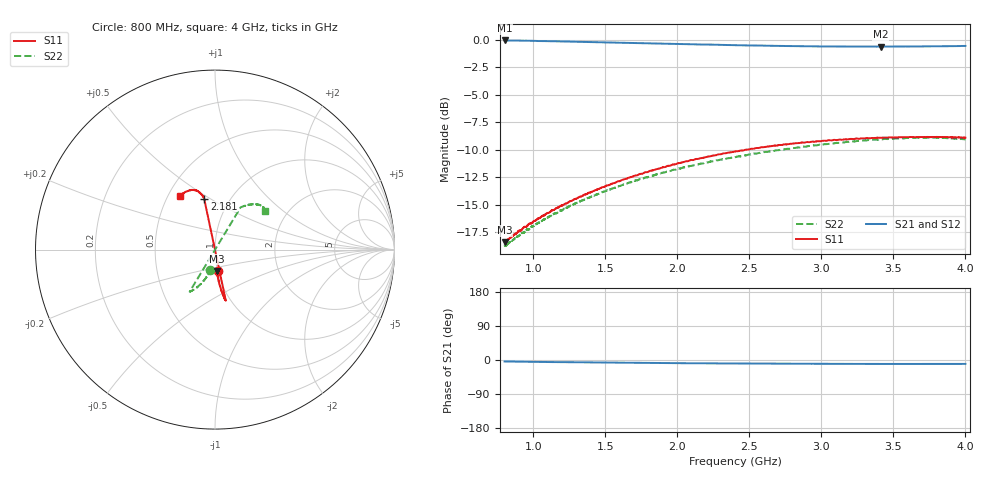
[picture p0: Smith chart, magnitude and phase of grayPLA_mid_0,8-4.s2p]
!Created with skrf (http://scikit-rf.org).
# GHz S RI R 50.0
!freq ReS11 ImS11 ReS21 ImS21 ReS12 ImS12 ReS22 ImS22
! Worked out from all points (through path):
!   5001 points, 800 MHz to 4 GHz, reference 50 ohm
!   highest |S21| = -0.07 dB at 801.3 MHz (marker M1); lowest = -0.6 dB at 3.411 GHz (marker M2)
!   group delay of S21, straight-line fit = 5.51 ps
!   lowest |S11| = -18.4 dB at 801.9 MHz (marker M3), VSWR 1.27, Z = 49.6 - j12 ohm
!   |S11| at or under -10 dB: start of sweep to 2.475 GHz; 2.484182 GHz to 2.485417 GHz (1.236 MHz wide, 0.0497 % of centre); 2.486942 GHz to 2.487762 GHz (819.7 kHz wide, 0.033 % of centre)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
!   |S22| runs from -18.8 to -8.9 dB; largest |S21 - S12| = 0.0057
!   S11 on the Smith chart (normalised r, x): 800 MHz: 1.00, -0.25; 2.181 GHz: 0.76, +0.47; 4 GHz: 0.57, +0.40
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0.8  0.0161 -0.1217  0.9893 -0.0666  0.9893 -0.0659  -0.0302 -0.1134
0.80128  0.0104 -0.1197  0.9897 -0.0672  0.9894 -0.0669  -0.0248 -0.1127
0.80192  0.0106 -0.1194  0.9893 -0.067  0.9893 -0.0668  -0.0244 -0.1125
0.81728  0.00988 -0.1224  0.9892 -0.0682  0.9889 -0.0679  -0.0242 -0.1144
0.91648  0.0129 -0.1356  0.9871 -0.0764  0.9865 -0.075  -0.0315 -0.1275
1.06816  0.0166 -0.1573  0.9818 -0.0891  0.9812 -0.0851  -0.0419 -0.1452
1.17184  0.0199 -0.1709  0.9781 -0.0955  0.9775 -0.0939  -0.0502 -0.1564
1.33376  0.0245 -0.1922  0.972 -0.1037  0.9723 -0.1035  -0.0628 -0.174
1.58528  0.0339 -0.2241  0.9626 -0.118  0.9627 -0.1155  -0.0851 -0.1971
1.86688  0.0463 -0.2547  0.952 -0.1314  0.9532 -0.1293  -0.1106 -0.2183
2.0992  0.0557 -0.2781  0.9432 -0.1443  0.944 -0.1395  -0.1338 -0.2312
2.16448  0.0589 -0.2831  0.9398 -0.1435  0.9414 -0.1421  -0.14 -0.2346
2.18112  -0.06 0.2841  0.9389 -0.1437  0.9408 -0.1428  0.1416 0.2344
2.19712  -0.06 0.2858  0.9389 -0.1442  0.9403 -0.1432  0.1435 0.2361
2.4  -0.071 0.3017  0.9321 -0.1506  0.9327 -0.1496  0.1624 0.2428
2.62976  -0.0841 0.3157  0.9261 -0.1539  0.9252 -0.1534  0.1837 0.2486
2.93376  -0.1012 0.3285  0.9188 -0.1611  0.9183 -0.1594  0.2114 0.252
3.23904  -0.1225 0.3329  0.9151 -0.1662  0.9153 -0.1634  0.237 0.2508
3.4112  -0.1361 0.3308  0.9144 -0.167  0.914 -0.1662  0.2498 0.2479
3.46688  -0.1405 0.3307  0.9151 -0.1682  0.9138 -0.1665  0.2541 0.2462
3.77664  -0.1692 0.3188  0.9173 -0.168  0.9158 -0.1677  0.2718 0.2336
4  -0.1951 0.3002  0.9216 -0.1675  0.9212 -0.1664  0.2786 0.2156
